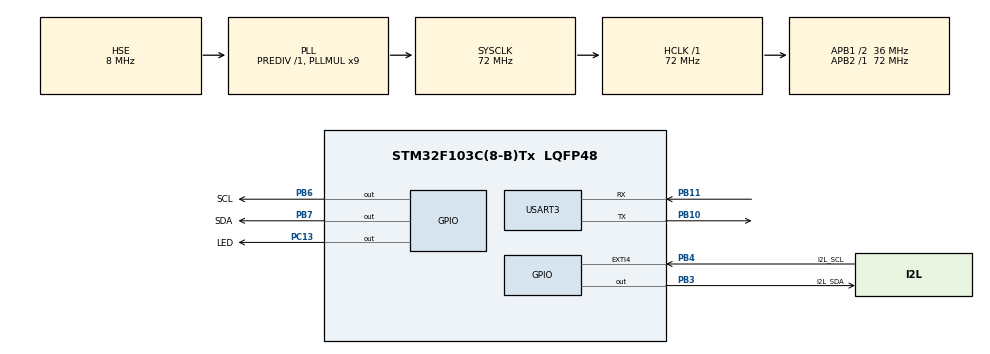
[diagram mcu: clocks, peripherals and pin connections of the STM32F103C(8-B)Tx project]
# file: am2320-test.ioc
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Mcu.Family=STM32F1
Mcu.Name=STM32F103C(8-B)Tx
Mcu.Package=LQFP48
NVIC.EXTI4_IRQn=true\:1\:0\:true\:false\:true
NVIC.PriorityGroup=NVIC_PRIORITYGROUP_4
NVIC.TIM2_IRQn=true\:0\:0\:false\:false\:true
NVIC.USART3_IRQn=true\:0\:0\:false\:false\:true
PA13.Mode=Serial_Wire
PA13.Signal=SYS_JTMS-SWDIO
PA14.Mode=Serial_Wire
PA14.Signal=SYS_JTCK-SWCLK
PB10.Mode=Asynchronous
PB10.Signal=USART3_TX
PB11.Mode=Asynchronous
PB11.Signal=USART3_RX
PB3.GPIO_Label=I2L_SDA
PB3.GPIO_ModeDefaultOutputPP=GPIO_MODE_OUTPUT_OD
PB3.GPIO_Speed=GPIO_SPEED_FREQ_HIGH
PB3.PinState=GPIO_PIN_SET
PB3.Signal=GPIO_Output
PB4.GPIO_Label=I2L_SCL
PB4.GPIO_ModeDefaultEXTI=GPIO_MODE_IT_RISING_FALLING
PB4.GPIO_PuPd=GPIO_PULLUP
PB4.Signal=GPXTI4
PB6.GPIO_Label=SCL
PB6.GPIO_ModeDefaultOutputPP=GPIO_MODE_OUTPUT_OD
PB6.GPIO_Speed=GPIO_SPEED_FREQ_HIGH
PB6.PinState=GPIO_PIN_SET
PB6.Signal=GPIO_Output
PB7.GPIO_Label=SDA
PB7.GPIO_ModeDefaultOutputPP=GPIO_MODE_OUTPUT_OD
PB7.GPIO_Speed=GPIO_SPEED_FREQ_HIGH
PB7.PinState=GPIO_PIN_SET
PB7.Signal=GPIO_Output
PC13-TAMPER-RTC.GPIO_Label=LED
PC13-TAMPER-RTC.GPIO_ModeDefaultOutputPP=GPIO_MODE_OUTPUT_OD
PC13-TAMPER-RTC.GPIO_Speed=GPIO_SPEED_FREQ_HIGH
PC13-TAMPER-RTC.PinState=GPIO_PIN_RESET
PC13-TAMPER-RTC.Signal=GPIO_Output
PD0-OSC_IN.Mode=HSE-External-Oscillator
PD0-OSC_IN.Signal=RCC_OSC_IN
PD1-OSC_OUT.Mode=HSE-External-Oscillator
PD1-OSC_OUT.Signal=RCC_OSC_OUT
ProjectManager.HeapSize=0x200
ProjectManager.StackSize=0x400
ProjectManager.TargetToolchain=MDK-ARM V5
RCC.AHBFreq_Value=72000000
RCC.APB1CLKDivider=RCC_HCLK_DIV2
RCC.APB1Freq_Value=36000000
RCC.APB1TimFreq_Value=72000000
RCC.APB2Freq_Value=72000000
RCC.APB2TimFreq_Value=72000000
RCC.HCLKFreq_Value=72000000
RCC.PLLMUL=RCC_PLL_MUL9
RCC.PLLSourceVirtual=RCC_PLLSOURCE_HSE
RCC.SYSCLKFreq_VALUE=72000000
RCC.SYSCLKSource=RCC_SYSCLKSOURCE_PLLCLK
RCC.USBFreq_Value=72000000
TIM2.AutoReloadPreload=TIM_AUTORELOAD_PRELOAD_ENABLE
TIM2.ClockDivision=TIM_CLOCKDIVISION_DIV1
TIM2.Period=719
TIM2.Prescaler=0
TIM2.TIM_MasterOutputTrigger=TIM_TRGO_UPDATE
USART3.VirtualMode=VM_ASYNC
VP_TIM2_VS_ClockSourceINT.Mode=Internal
board=am2320-test

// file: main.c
/**
  ******************************************************************************
  * File Name          : main.c
  * Description        : Main program body
  ******************************************************************************
  ** This notice applies to any and all portions of this file
  * that are not between comment pairs USER CODE BEGIN and
  * USER CODE END. Other portions of this file, whether
  * inserted by the user or by software development tools
  * are owned by their respective copyright owners.
  *
  * COPYRIGHT(c) 2017 STMicroelectronics
  *
  * Redistribution and use in source and binary forms, with or without modification,
  * are permitted provided that the following conditions are met:
  *   1. Redistributions of source code must retain the above copyright notice,
  *      this list of conditions and the following disclaimer.
  *   2. Redistributions in binary form must reproduce the above copyright notice,
  *      this list of conditions and the following disclaimer in the documentation
  *      and/or other materials provided with the distribution.
  *   3. Neither the name of STMicroelectronics nor the names of its contributors
  *      may be used to endorse or promote products derived from this software
  *      without specific prior written permission.
  *
  * THIS SOFTWARE IS PROVIDED BY THE COPYRIGHT HOLDERS AND CONTRIBUTORS "AS IS"
  * AND ANY EXPRESS OR IMPLIED WARRANTIES, INCLUDING, BUT NOT LIMITED TO, THE
  * IMPLIED WARRANTIES OF MERCHANTABILITY AND FITNESS FOR A PARTICULAR PURPOSE ARE
  * DISCLAIMED. IN NO EVENT SHALL THE COPYRIGHT HOLDER OR CONTRIBUTORS BE LIABLE
  * FOR ANY DIRECT, INDIRECT, INCIDENTAL, SPECIAL, EXEMPLARY, OR CONSEQUENTIAL
  * DAMAGES (INCLUDING, BUT NOT LIMITED TO, PROCUREMENT OF SUBSTITUTE GOODS OR
  * SERVICES; LOSS OF USE, DATA, OR PROFITS; OR BUSINESS INTERRUPTION) HOWEVER
  * CAUSED AND ON ANY THEORY OF LIABILITY, WHETHER IN CONTRACT, STRICT LIABILITY,
  * OR TORT (INCLUDING NEGLIGENCE OR OTHERWISE) ARISING IN ANY WAY OUT OF THE USE
  * OF THIS SOFTWARE, EVEN IF ADVISED OF THE POSSIBILITY OF SUCH DAMAGE.
  *
  ******************************************************************************
  */
#include "main.h"
#include "stm32f1xx_hal.h"

/* USER CODE BEGIN Includes */
#include "utick.h"
#include "i2l_slave.h"

#define AM_ADDR 0xB8
//#define AM_ADDR 0x5C
#define I2C_TIMEOUT 500
#define _usec(x) x/10

/* USER CODE END Includes */

TIM_HandleTypeDef htim2;

UART_HandleTypeDef huart3;

/* USER CODE BEGIN PV */
/* Private variables ---------------------------------------------------------*/
uint8_t am2320_f3_answ[8];

/* USER CODE END PV */

void SystemClock_Config(void);
static void MX_GPIO_Init(void);
static void MX_TIM2_Init(void);
static void MX_USART3_UART_Init(void);

/* USER CODE BEGIN PFP */
/* Private function prototypes -----------------------------------------------*/
uint8_t scl_high(void){
  GPIO_PinState  scl;
  HAL_GPIO_WritePin(SCL_GPIO_Port, SCL_Pin, GPIO_PIN_SET);
  scl = HAL_GPIO_ReadPin(SCL_GPIO_Port, SCL_Pin);
  return scl;
}
uint8_t sda_high(void){
  GPIO_PinState  sda;
  HAL_GPIO_WritePin(SDA_GPIO_Port, SDA_Pin, GPIO_PIN_SET);
  sda = HAL_GPIO_ReadPin(SDA_GPIO_Port, SDA_Pin);
  return sda;
}
uint8_t scl_low(void){
  GPIO_PinState  scl;
  HAL_GPIO_WritePin(SCL_GPIO_Port, SCL_Pin, GPIO_PIN_RESET);
  scl = HAL_GPIO_ReadPin(SCL_GPIO_Port, SCL_Pin);
  return scl;
}

uint8_t sda_low(void){
  GPIO_PinState  sda;
  HAL_GPIO_WritePin(SDA_GPIO_Port, SDA_Pin, GPIO_PIN_RESET);
  sda = HAL_GPIO_ReadPin(SDA_GPIO_Port, SDA_Pin);
  return sda;
}

uint8_t sda_read(void){
  GPIO_PinState  sda;
  sda = HAL_GPIO_ReadPin(SDA_GPIO_Port, SDA_Pin);
  return sda;
}

uint8_t am2320_wakeup(void){
  uint8_t ack;

  HAL_GPIO_WritePin(LED_GPIO_Port, LED_Pin, GPIO_PIN_SET);

  /* i2c init */
  sda_high();
  scl_high();
  usleep(_usec(2000000));
  /* start:*/
  sda_low();
  usleep(_usec(100));
  scl_low();
  usleep(_usec(100));

  /* address: */
  for (int i = 7; i >= 0; i --){
    if (AM_ADDR & (1 << i)){
      sda_high();
    }else{
      sda_low();
    }
    usleep(_usec(100));
    scl_high();
    usleep(_usec(100));
    scl_low();
  }
  /* ack */
  sda_high();
  usleep(_usec(100));
  scl_high();
  usleep(_usec(100));
  ack = sda_read();
  scl_low();
  sda_low();
  usleep(_usec(1000)); // min 800us!!!
  scl_high();
  usleep(_usec(100));
  sda_high();
  usleep(_usec(100)); // wait for waking up
  return 0;
}

uint8_t am2320_address(uint8_t rd_bit){
  uint8_t ack;
  uint8_t addr = AM_ADDR | rd_bit;
  /* start:*/
  sda_low();
  usleep(_usec(100));
  scl_low();
  usleep(_usec(100));

  /* address: */
  for (int i = 7; i >= 0; i --){
    if (addr & (1 << i)){
      sda_high();
    }else{
      sda_low();
    }
    usleep(_usec(100));
    scl_high();
    usleep(_usec(100));
    scl_low();
  }
  /* ack */
  sda_high();
  usleep(_usec(100));
  scl_high();
  usleep(_usec(100));
  ack = sda_read();
  if (ack == 0){
    HAL_GPIO_WritePin(LED_GPIO_Port, LED_Pin, GPIO_PIN_RESET);
//    sda_low();
 }else{
    HAL_GPIO_WritePin(LED_GPIO_Port, LED_Pin, GPIO_PIN_SET);
  }
  scl_low();
//  usleep(_usec(1000));
//  sda_high();
  usleep(_usec(100));
  return ack;
}

uint8_t am2320_command(uint8_t cmd){
  uint8_t ack;

  for (int i = 7; i >= 0; i --){
    if (cmd & (1 << i)){
      sda_high();
    }else{
      sda_low();
    }
    usleep(_usec(100));
    scl_high();
    usleep(_usec(100));
    scl_low();
  }
  /* ack */
  sda_high();
  usleep(_usec(100));
  scl_high();
  usleep(_usec(100));
  ack = sda_read();
  if (ack == 0){
    HAL_GPIO_WritePin(LED_GPIO_Port, LED_Pin, GPIO_PIN_RESET);
    sda_low();
  }else{
    HAL_GPIO_WritePin(LED_GPIO_Port, LED_Pin, GPIO_PIN_SET);
  }
  scl_low();
//  usleep(_usec(1000));
//  sda_high();
  usleep(_usec(100));
  return ack;
}

uint8_t am2320_answer(uint8_t last_byte){
  uint8_t ack = 0;
  uint8_t answer = 0;
  /* SDA is already HIGH */
  for (int i = 7; i >= 0; i --){
    scl_high();
    usleep(_usec(100));
    ack = sda_read();
    answer |= ((ack & 0x1) << i);
    scl_low();
    usleep(_usec(100));
  }
  if (!last_byte)
    sda_low(); //master ACK
  scl_high();
  usleep(_usec(100));
#if 0
  ack = sda_read();
  if (ack == 0){
    HAL_GPIO_WritePin(LED_GPIO_Port, LED_Pin, GPIO_PIN_RESET);
//    sda_low();
  }else{
    HAL_GPIO_WritePin(LED_GPIO_Port, LED_Pin, GPIO_PIN_SET);
  }
#endif
  scl_low();
//  usleep(_usec(1000));
  if (!last_byte){
    sda_high();
  }
  usleep(_usec(100));
  return answer;
}

uint8_t sda_stop(void){
  scl_high();
  usleep(_usec(100));
  sda_high();
  usleep(_usec(100));
  return 0;
}

/* USER CODE END PFP */

/* USER CODE BEGIN 0 */
uint16_t crc16(uint8_t *ptr, uint8_t len){
  uint16_t crc =0xFFFF;
  uint8_t i;
  while(len--){
    crc ^=*ptr++;
    for(i=0;i<8;i++){
      if(crc & 0x01){
        crc >>= 1;
        crc ^= 0xA001;
      }else{
        crc>>=1;
      }
    }
  }
  return crc;
}
/* USER CODE END 0 */

int main(void)
{

  /* USER CODE BEGIN 1 */
  HAL_StatusTypeDef rc;
  //uint8_t cmd;
  //uint8_t val;
  //uint8_t ack;
  //uint8_t hum_hi, hum_lo, temp_hi, temp_lo, fun_num, answ_len, crc_code1, crc_code2;
  uint16_t crc;
  int8_t tr_buffer[24];
  int tr_size;
  //GPIO_PinState  pb5;

  /* USER CODE END 1 */

  /* MCU Configuration----------------------------------------------------------*/

  /* Reset of all peripherals, Initializes the Flash interface and the Systick. */
  HAL_Init();

  /* USER CODE BEGIN Init */
  reset_utick();
  i2l_init();
  /* USER CODE END Init */

  /* Configure the system clock */
  SystemClock_Config();

  /* Initialize all configured peripherals */
  MX_GPIO_Init();
  MX_TIM2_Init();
  MX_USART3_UART_Init();

  /* USER CODE BEGIN 2 */
  rc = HAL_TIM_Base_Start_IT(&htim2);

  HAL_GPIO_WritePin(LED_GPIO_Port, LED_Pin, GPIO_PIN_SET);

  while (1) {
#if 0
    while (i2l_get_state()!= e_i2l_start){
      /* wait for master */
    }
#endif

    /* am2320 wakeup:  */
    am2320_wakeup();

    /* workong: */
    am2320_address(0x00); // WR
    am2320_command(0x03); // function code
    am2320_command(0x00); // staring address
    am2320_command(0x04); // register length
    sda_stop();
    usleep(_usec(2000)); //wait for collecting data min 1.5ms
    am2320_address(0x01); // RD
    am2320_f3_answ[0] = am2320_answer(0);
    am2320_f3_answ[1] = am2320_answer(0);
    am2320_f3_answ[2] = am2320_answer(0);
    am2320_f3_answ[3] = am2320_answer(0);
    am2320_f3_answ[4] = am2320_answer(0);
    am2320_f3_answ[5] = am2320_answer(0);
    am2320_f3_answ[6] = am2320_answer(0);
    am2320_f3_answ[7] = am2320_answer(1);
    sda_stop();
    //usleep(_usec(6000));

    i2l_set_ready(); /* set SDA low and wait master for data read */
#if 0
    while (i2l_get_state()!= e_i2l_stop){
      /* wait for master done read data */
    }
#endif
  /* USER CODE END 2 */

  /* Infinite loop */
  /* USER CODE BEGIN WHILE */
    crc = crc16(am2320_f3_answ, 6);

    if ((am2320_f3_answ[6] == (crc & 0xFF)) && (am2320_f3_answ[7] == ((crc >> 8) & 0xFF))){
      tr_size = sprintf((char*)tr_buffer, "hum:%.2d temp:%.2d\r\n",
                         (am2320_f3_answ[2]*256 + am2320_f3_answ[3])/10,
                         (am2320_f3_answ[4]*256 + am2320_f3_answ[5])/10);
      rc = HAL_UART_Transmit(&huart3,  (uint8_t*)tr_buffer, tr_size, 100);
    }
    while (1){
      HAL_GPIO_TogglePin(LED_GPIO_Port, LED_Pin);

      //HAL_UART_Receive(&huart3, (uint8_t*)tr_buffer, tr_size, 10000);
      usleep(_usec(300000));
    }
  /* USER CODE END WHILE */

  }

}

/** System Clock Configuration
*/
void SystemClock_Config(void)
{

  RCC_OscInitTypeDef RCC_OscInitStruct;
  RCC_ClkInitTypeDef RCC_ClkInitStruct;

    /**Initializes the CPU, AHB and APB busses clocks
    */
  RCC_OscInitStruct.OscillatorType = RCC_OSCILLATORTYPE_HSE;
  RCC_OscInitStruct.HSEState = RCC_HSE_ON;
  RCC_OscInitStruct.HSEPredivValue = RCC_HSE_PREDIV_DIV1;
  RCC_OscInitStruct.HSIState = RCC_HSI_ON;
  RCC_OscInitStruct.PLL.PLLState = RCC_PLL_ON;
  RCC_OscInitStruct.PLL.PLLSource = RCC_PLLSOURCE_HSE;
  RCC_OscInitStruct.PLL.PLLMUL = RCC_PLL_MUL9;
  if (HAL_RCC_OscConfig(&RCC_OscInitStruct) != HAL_OK)
  {
    _Error_Handler(__FILE__, __LINE__);
  }

    /**Initializes the CPU, AHB and APB busses clocks
    */
  RCC_ClkInitStruct.ClockType = RCC_CLOCKTYPE_HCLK|RCC_CLOCKTYPE_SYSCLK
                              |RCC_CLOCKTYPE_PCLK1|RCC_CLOCKTYPE_PCLK2;
  RCC_ClkInitStruct.SYSCLKSource = RCC_SYSCLKSOURCE_PLLCLK;
  RCC_ClkInitStruct.AHBCLKDivider = RCC_SYSCLK_DIV1;
  RCC_ClkInitStruct.APB1CLKDivider = RCC_HCLK_DIV2;
  RCC_ClkInitStruct.APB2CLKDivider = RCC_HCLK_DIV1;

  if (HAL_RCC_ClockConfig(&RCC_ClkInitStruct, FLASH_LATENCY_2) != HAL_OK)
  {
    _Error_Handler(__FILE__, __LINE__);
  }

    /**Configure the Systick interrupt time
    */
  HAL_SYSTICK_Config(HAL_RCC_GetHCLKFreq()/1000);

    /**Configure the Systick
    */
  HAL_SYSTICK_CLKSourceConfig(SYSTICK_CLKSOURCE_HCLK);

  /* SysTick_IRQn interrupt configuration */
  HAL_NVIC_SetPriority(SysTick_IRQn, 0, 0);
}

/* TIM2 init function */
static void MX_TIM2_Init(void)
{

  TIM_ClockConfigTypeDef sClockSourceConfig;
  TIM_MasterConfigTypeDef sMasterConfig;

  htim2.Instance = TIM2;
  htim2.Init.Prescaler = 0;
  htim2.Init.CounterMode = TIM_COUNTERMODE_UP;
  htim2.Init.Period = 719;
  htim2.Init.ClockDivision = TIM_CLOCKDIVISION_DIV1;
  htim2.Init.AutoReloadPreload = TIM_AUTORELOAD_PRELOAD_ENABLE;
  if (HAL_TIM_Base_Init(&htim2) != HAL_OK)
  {
    _Error_Handler(__FILE__, __LINE__);
  }

  sClockSourceConfig.ClockSource = TIM_CLOCKSOURCE_INTERNAL;
  if (HAL_TIM_ConfigClockSource(&htim2, &sClockSourceConfig) != HAL_OK)
  {
    _Error_Handler(__FILE__, __LINE__);
  }

  sMasterConfig.MasterOutputTrigger = TIM_TRGO_UPDATE;
  sMasterConfig.MasterSlaveMode = TIM_MASTERSLAVEMODE_DISABLE;
  if (HAL_TIMEx_MasterConfigSynchronization(&htim2, &sMasterConfig) != HAL_OK)
  {
    _Error_Handler(__FILE__, __LINE__);
  }

}

/* USART3 init function */
static void MX_USART3_UART_Init(void)
{

  huart3.Instance = USART3;
  huart3.Init.BaudRate = 115200;
  huart3.Init.WordLength = UART_WORDLENGTH_8B;
  huart3.Init.StopBits = UART_STOPBITS_1;
  huart3.Init.Parity = UART_PARITY_NONE;
  huart3.Init.Mode = UART_MODE_TX_RX;
  huart3.Init.HwFlowCtl = UART_HWCONTROL_NONE;
  huart3.Init.OverSampling = UART_OVERSAMPLING_16;
  if (HAL_UART_Init(&huart3) != HAL_OK)
  {
    _Error_Handler(__FILE__, __LINE__);
  }

}

/** Configure pins as
        * Analog
        * Input
        * Output
        * EVENT_OUT
        * EXTI
*/
static void MX_GPIO_Init(void)
{

  GPIO_InitTypeDef GPIO_InitStruct;

  /* GPIO Ports Clock Enable */
  __HAL_RCC_GPIOC_CLK_ENABLE();
  __HAL_RCC_GPIOD_CLK_ENABLE();
  __HAL_RCC_GPIOB_CLK_ENABLE();
  __HAL_RCC_GPIOA_CLK_ENABLE();

  /*Configure GPIO pin Output Level */
  HAL_GPIO_WritePin(LED_GPIO_Port, LED_Pin, GPIO_PIN_RESET);

  /*Configure GPIO pin Output Level */
  HAL_GPIO_WritePin(GPIOB, I2L_SDA_Pin|SCL_Pin|SDA_Pin, GPIO_PIN_SET);

  /*Configure GPIO pin : LED_Pin */
  GPIO_InitStruct.Pin = LED_Pin;
  GPIO_InitStruct.Mode = GPIO_MODE_OUTPUT_OD;
  GPIO_InitStruct.Speed = GPIO_SPEED_FREQ_HIGH;
  HAL_GPIO_Init(LED_GPIO_Port, &GPIO_InitStruct);

  /*Configure GPIO pins : I2L_SDA_Pin SCL_Pin SDA_Pin */
  GPIO_InitStruct.Pin = I2L_SDA_Pin|SCL_Pin|SDA_Pin;
  GPIO_InitStruct.Mode = GPIO_MODE_OUTPUT_OD;
  GPIO_InitStruct.Speed = GPIO_SPEED_FREQ_HIGH;
  HAL_GPIO_Init(GPIOB, &GPIO_InitStruct);

  /*Configure GPIO pin : I2L_SCL_Pin */
  GPIO_InitStruct.Pin = I2L_SCL_Pin;
  GPIO_InitStruct.Mode = GPIO_MODE_IT_RISING_FALLING;
  GPIO_InitStruct.Pull = GPIO_PULLUP;
  HAL_GPIO_Init(I2L_SCL_GPIO_Port, &GPIO_InitStruct);

  /* EXTI interrupt init*/
  HAL_NVIC_SetPriority(EXTI4_IRQn, 1, 0);
  HAL_NVIC_EnableIRQ(EXTI4_IRQn);

}

void _Error_Handler(char * file, int line)
{
  while(1)
  {
  }
}

/************************ (C) COPYRIGHT STMicroelectronics *****END OF FILE****/
